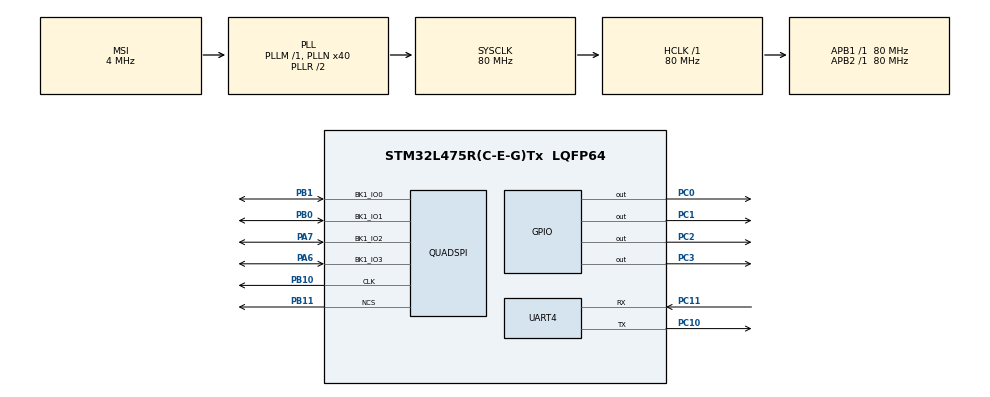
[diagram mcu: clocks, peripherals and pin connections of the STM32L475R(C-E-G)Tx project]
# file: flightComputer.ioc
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FREERTOS.Queues01=uartIn,32,uint8_t,0,Dynamic,NULL,NULL;commandQueue,16,uint16_t,0,Dynamic,NULL,NULL;feedbackQueue,16,uint16_t,0,Dynamic,NULL,NULL
FREERTOS.Tasks01=uartWriteTask,16,128,uartWrite,Default,NULL,Dynamic,NULL,NULL;uartReadTask,8,128,uartRead,Default,NULL,Dynamic,NULL,NULL;controlTask,8,128,valveControl,Default,NULL,Dynamic,NULL,NULL
FREERTOS.Timers01=launchTimer,launchTimerCallback,osTimerPeriodic,Default,NULL,Dynamic,NULL;instrumentationReadTimer,instrumentationRead,osTimerPeriodic,Default,NULL,Dynamic,NULL
FREERTOS.configLIBRARY_LOWEST_INTERRUPT_PRIORITY=13
FREERTOS.configLIBRARY_MAX_SYSCALL_INTERRUPT_PRIORITY=5
FREERTOS.configTIMER_TASK_PRIORITY=55
FREERTOS.configUSE_PREEMPTION=0
Mcu.Family=STM32L4
Mcu.Name=STM32L475R(C-E-G)Tx
Mcu.Package=LQFP64
NVIC.PriorityGroup=NVIC_PRIORITYGROUP_4
NVIC.TIM6_DAC_IRQn=true\:15\:0\:false\:false\:true\:false\:false\:true\:true
NVIC.TimeBase=TIM6_DAC_IRQn
NVIC.TimeBaseIP=TIM6
NVIC.UART4_IRQn=true\:6\:0\:true\:false\:true\:true\:true\:true\:true
PA6.Mode=Single Bank
PA6.Signal=QUADSPI_BK1_IO3
PA7.Mode=Single Bank
PA7.Signal=QUADSPI_BK1_IO2
PB0.Mode=Single Bank
PB0.Signal=QUADSPI_BK1_IO1
PB1.Mode=Single Bank
PB1.Signal=QUADSPI_BK1_IO0
PB10.Mode=Single Bank
PB10.Signal=QUADSPI_CLK
PB11.Mode=Single Bank
PB11.Signal=QUADSPI_NCS
PC0.Signal=GPIO_Output
PC1.Signal=GPIO_Output
PC10.Mode=Asynchronous
PC10.Signal=UART4_TX
PC11.Mode=Asynchronous
PC11.Signal=UART4_RX
PC2.Signal=GPIO_Output
PC3.Signal=GPIO_Output
ProjectManager.HeapSize=0x200
ProjectManager.StackSize=0x400
ProjectManager.TargetToolchain=CMake
RCC.ADCFreq_Value=48000000
RCC.AHBFreq_Value=80000000
RCC.APB1Freq_Value=80000000
RCC.APB1TimFreq_Value=80000000
RCC.APB2Freq_Value=80000000
RCC.APB2TimFreq_Value=80000000
RCC.CortexFreq_Value=80000000
RCC.HCLKFreq_Value=80000000
RCC.HSE_VALUE=8000000
RCC.HSI_VALUE=16000000
RCC.LSE_VALUE=32768
RCC.MSI_VALUE=4000000
RCC.PLLN=40
RCC.PLLSAI1N=24
RCC.SYSCLKFreq_VALUE=80000000
RCC.SYSCLKSource=RCC_SYSCLKSOURCE_PLLCLK
RCC.USBFreq_Value=48000000
RCC.VCOOutputFreq_Value=160000000
VP_FREERTOS_VS_CMSIS_V2.Mode=CMSIS_V2
VP_SYS_VS_tim6.Mode=TIM6
board=custom

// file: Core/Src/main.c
/* USER CODE BEGIN Header */
/**
  ******************************************************************************
  * @file           : main.c
  * @brief          : Main program body
  ******************************************************************************
  * @attention
  *
  * Copyright (c) 2025 STMicroelectronics.
  * All rights reserved.
  *
  * This software is licensed under terms that can be found in the LICENSE file
  * in the root directory of this software component.
  * If no LICENSE file comes with this software, it is provided AS-IS.
  *
  ******************************************************************************
  */
/* USER CODE END Header */
#include "main.h"
#include "cmsis_os.h"

/* USER CODE BEGIN Includes */
#include "controls.h"

/* USER CODE END Includes */

/* USER CODE BEGIN PD */

#define MSG_FLAG_MSK 0x00000001U
#define MSG_BUFF_MAX_SIZE 100
/* USER CODE END PD */

UART_HandleTypeDef huart4;

/* Definitions for uartWriteTask */
osThreadId_t uartWriteTaskHandle;
const osThreadAttr_t uartWriteTask_attributes = {
  .name = "uartWriteTask",
  .stack_size = 128 * 4,
  .priority = (osPriority_t) osPriorityBelowNormal,
};
/* Definitions for uartReadTask */
osThreadId_t uartReadTaskHandle;
const osThreadAttr_t uartReadTask_attributes = {
  .name = "uartReadTask",
  .stack_size = 128 * 4,
  .priority = (osPriority_t) osPriorityLow,
};
/* Definitions for controlTask */
osThreadId_t controlTaskHandle;
const osThreadAttr_t controlTask_attributes = {
  .name = "controlTask",
  .stack_size = 128 * 4,
  .priority = (osPriority_t) osPriorityLow,
};
/* Definitions for uartIn */
osMessageQueueId_t uartInHandle;
const osMessageQueueAttr_t uartIn_attributes = {
  .name = "uartIn"
};
/* Definitions for commandQueue */
osMessageQueueId_t commandQueueHandle;
const osMessageQueueAttr_t commandQueue_attributes = {
  .name = "commandQueue"
};
/* Definitions for feedbackQueue */
osMessageQueueId_t feedbackQueueHandle;
const osMessageQueueAttr_t feedbackQueue_attributes = {
  .name = "feedbackQueue"
};
/* Definitions for launchTimer */
osTimerId_t launchTimerHandle;
const osTimerAttr_t launchTimer_attributes = {
  .name = "launchTimer"
};
/* Definitions for instrumentationReadTimer */
osTimerId_t instrumentationReadTimerHandle;
const osTimerAttr_t instrumentationReadTimer_attributes = {
  .name = "instrumentationReadTimer"
};
/* USER CODE BEGIN PV */

uint8_t sequence_number = 0;

const uint16_t pins[4] = {
  GPIO_PIN_0,
  GPIO_PIN_1,
  GPIO_PIN_2,
  GPIO_PIN_3
};

const launchAction_t launchSequence[5] = {
  {IGNIT, OPEN, 0},
  {IGNIT, CLOSE, 1000U},
  {MEV, OPEN, 10U},
  {MEV, CLOSE, 500U},
  {OX, OPEN, 1000U}
};

volatile action_t valveStates[4] = {
  CLOSE,
  CLOSE,
  CLOSE,
  CLOSE
};
/* USER CODE END PV */

void SystemClock_Config(void);
static void MX_GPIO_Init(void);
static void MX_UART4_Init(void);
void uartWrite(void *argument);
void uartRead(void *argument);
void valveControl(void *argument);
void launchTimerCallback(void *argument);
void instrumentationRead(void *argument);

/* USER CODE BEGIN 0 */

uint8_t rx_buff = 0;

/* USER CODE END 0 */

int main(void)
{

  /* MCU Configuration--------------------------------------------------------*/

  /* Reset of all peripherals, Initializes the Flash interface and the Systick. */
  HAL_Init();

  /* Configure the system clock */
  SystemClock_Config();

  /* Initialize all configured peripherals */
  MX_GPIO_Init();
  MX_UART4_Init();
  /* USER CODE BEGIN 2 */

  HAL_UART_Receive_IT(&huart4, &rx_buff, 1);

  /* USER CODE END 2 */

  /* Init scheduler */
  osKernelInitialize();

  /* Create the timer(s) */
  /* creation of launchTimer */
  launchTimerHandle = osTimerNew(launchTimerCallback, osTimerOnce, NULL, &launchTimer_attributes);

  /* creation of instrumentationReadTimer */
  instrumentationReadTimerHandle = osTimerNew(instrumentationRead, osTimerPeriodic, NULL, &instrumentationReadTimer_attributes);

  /* Create the queue(s) */
  /* creation of uartIn */
  uartInHandle = osMessageQueueNew (32, sizeof(uint8_t), &uartIn_attributes);

  /* creation of commandQueue */
  commandQueueHandle = osMessageQueueNew (16, sizeof(commandPacket_t), &commandQueue_attributes);

  /* creation of feedbackQueue */
  feedbackQueueHandle = osMessageQueueNew (16, sizeof(uint16_t), &feedbackQueue_attributes);

  /* Create the thread(s) */
  /* creation of uartWriteTask */
  uartWriteTaskHandle = osThreadNew(uartWrite, NULL, &uartWriteTask_attributes);

  /* creation of uartReadTask */
  uartReadTaskHandle = osThreadNew(uartRead, NULL, &uartReadTask_attributes);

  /* creation of controlTask */
  controlTaskHandle = osThreadNew(valveControl, NULL, &controlTask_attributes);

  /* Start scheduler */
  osKernelStart();

  /* We should never get here as control is now taken by the scheduler */

  /* Infinite loop */
  while (1)
  {

  }
}

void SystemClock_Config(void)
{
  RCC_OscInitTypeDef RCC_OscInitStruct = {0};
  RCC_ClkInitTypeDef RCC_ClkInitStruct = {0};

  /** Configure the main internal regulator output voltage
  */
  if (HAL_PWREx_ControlVoltageScaling(PWR_REGULATOR_VOLTAGE_SCALE1) != HAL_OK)
  {
    Error_Handler();
  }

  /** Initializes the RCC Oscillators according to the specified parameters
  * in the RCC_OscInitTypeDef structure.
  */
  RCC_OscInitStruct.OscillatorType = RCC_OSCILLATORTYPE_MSI;
  RCC_OscInitStruct.MSIState = RCC_MSI_ON;
  RCC_OscInitStruct.MSICalibrationValue = 0;
  RCC_OscInitStruct.MSIClockRange = RCC_MSIRANGE_6;
  RCC_OscInitStruct.PLL.PLLState = RCC_PLL_ON;
  RCC_OscInitStruct.PLL.PLLSource = RCC_PLLSOURCE_MSI;
  RCC_OscInitStruct.PLL.PLLM = 1;
  RCC_OscInitStruct.PLL.PLLN = 40;
  RCC_OscInitStruct.PLL.PLLP = RCC_PLLP_DIV7;
  RCC_OscInitStruct.PLL.PLLQ = RCC_PLLQ_DIV2;
  RCC_OscInitStruct.PLL.PLLR = RCC_PLLR_DIV2;
  if (HAL_RCC_OscConfig(&RCC_OscInitStruct) != HAL_OK)
  {
    Error_Handler();
  }

  /** Initializes the CPU, AHB and APB buses clocks
  */
  RCC_ClkInitStruct.ClockType = RCC_CLOCKTYPE_HCLK|RCC_CLOCKTYPE_SYSCLK
                              |RCC_CLOCKTYPE_PCLK1|RCC_CLOCKTYPE_PCLK2;
  RCC_ClkInitStruct.SYSCLKSource = RCC_SYSCLKSOURCE_PLLCLK;
  RCC_ClkInitStruct.AHBCLKDivider = RCC_SYSCLK_DIV1;
  RCC_ClkInitStruct.APB1CLKDivider = RCC_HCLK_DIV1;
  RCC_ClkInitStruct.APB2CLKDivider = RCC_HCLK_DIV1;

  if (HAL_RCC_ClockConfig(&RCC_ClkInitStruct, FLASH_LATENCY_4) != HAL_OK)
  {
    Error_Handler();
  }
}

static void MX_UART4_Init(void)
{

  huart4.Instance = UART4;
  huart4.Init.BaudRate = 115200;
  huart4.Init.WordLength = UART_WORDLENGTH_8B;
  huart4.Init.StopBits = UART_STOPBITS_1;
  huart4.Init.Parity = UART_PARITY_NONE;
  huart4.Init.Mode = UART_MODE_TX_RX;
  huart4.Init.HwFlowCtl = UART_HWCONTROL_NONE;
  huart4.Init.OverSampling = UART_OVERSAMPLING_16;
  huart4.Init.OneBitSampling = UART_ONE_BIT_SAMPLE_DISABLE;
  huart4.AdvancedInit.AdvFeatureInit = UART_ADVFEATURE_NO_INIT;
  if (HAL_UART_Init(&huart4) != HAL_OK)
  {
    Error_Handler();
  }

}

static void MX_GPIO_Init(void)
{
  GPIO_InitTypeDef GPIO_InitStruct = {0};

  /* GPIO Ports Clock Enable */
  __HAL_RCC_GPIOC_CLK_ENABLE();

  /*Configure GPIO pin Output Level */
  HAL_GPIO_WritePin(GPIOC, GPIO_PIN_0|GPIO_PIN_1|GPIO_PIN_2|GPIO_PIN_3, GPIO_PIN_RESET);

  /*Configure GPIO pins : PC0 PC1 PC2 PC3 */
  GPIO_InitStruct.Pin = GPIO_PIN_0|GPIO_PIN_1|GPIO_PIN_2|GPIO_PIN_3;
  GPIO_InitStruct.Mode = GPIO_MODE_OUTPUT_PP;
  GPIO_InitStruct.Pull = GPIO_NOPULL;
  GPIO_InitStruct.Speed = GPIO_SPEED_FREQ_LOW;
  HAL_GPIO_Init(GPIOC, &GPIO_InitStruct);

}

/* USER CODE BEGIN 4 */
void HAL_UART_RxCpltCallback(UART_HandleTypeDef *huart)
{
  if(huart->Instance == UART4)
  {
    if(osMessageQueueGetSpace(uartInHandle) > 0)
    {
      osMessageQueuePut(uartInHandle, &rx_buff, 0, 0);
    }
    HAL_UART_Receive_IT(&huart4, &rx_buff, 1);
  }
}
/* USER CODE END 4 */

void uartWrite(void *argument)
{
  for(;;)
  {
    osDelay(1);
  }
}

void uartRead(void *argument)
{
  /* USER CODE BEGIN uartRead */
  /* Infinite loop */
  uint8_t message[MSG_BUFF_MAX_SIZE];
  uint8_t in_char;
  uint8_t size = 0;
  commandPacket_t command;

  for(;;)
  {
    if(osMessageQueueGet(uartInHandle, &in_char, NULL, osWaitForever) == osOK)
    {
      message[size] = in_char;
      size++;
      if(in_char == '\n' || size == MSG_BUFF_MAX_SIZE)
      {
        message[size - 1] = '\0';
        command = string_to_command(message);
        osMessageQueuePut(commandQueueHandle, &command, 0, 0);
        size = 0;
      }
    }
  }
  /* USER CODE END uartRead */
}

void valveControl(void *argument)
{
  /* USER CODE BEGIN valveControl */
  /* Infinite loop */
  commandPacket_t command;

  for(;;)
  {
    if(osMessageQueueGet(commandQueueHandle, &command, NULL, osWaitForever) == osOK)
    {
      switch (command.id)
      {
        case ABORT:
          break;
        case LAUNCH:
          HAL_GPIO_WritePin(GPIOC, pins[launchSequence[0].valve], launchSequence[0].action);
          sequence_number++;
          osTimerStart(launchTimerHandle, launchSequence[sequence_number].time);
          break;
        case MOVE:
          break;
        default:
          break;
      }
    }
  }
  /* USER CODE END valveControl */
}

/* launchTimerCallback function */
void launchTimerCallback(void *argument)
{
  /* USER CODE BEGIN launchTimerCallback */
  HAL_GPIO_WritePin(GPIOC, pins[launchSequence[sequence_number].valve], launchSequence[sequence_number].action);
  sequence_number++;
  if(sequence_number < 5)
    osTimerStart(launchTimerHandle, launchSequence[sequence_number].time);
  /* USER CODE END launchTimerCallback */
}

/* instrumentationRead function */
void instrumentationRead(void *argument)
{
}

void HAL_TIM_PeriodElapsedCallback(TIM_HandleTypeDef *htim)
{
  if (htim->Instance == TIM6) {
    HAL_IncTick();
  }
}

void Error_Handler(void)
{
  __disable_irq();
  while (1)
  {
  }
}
